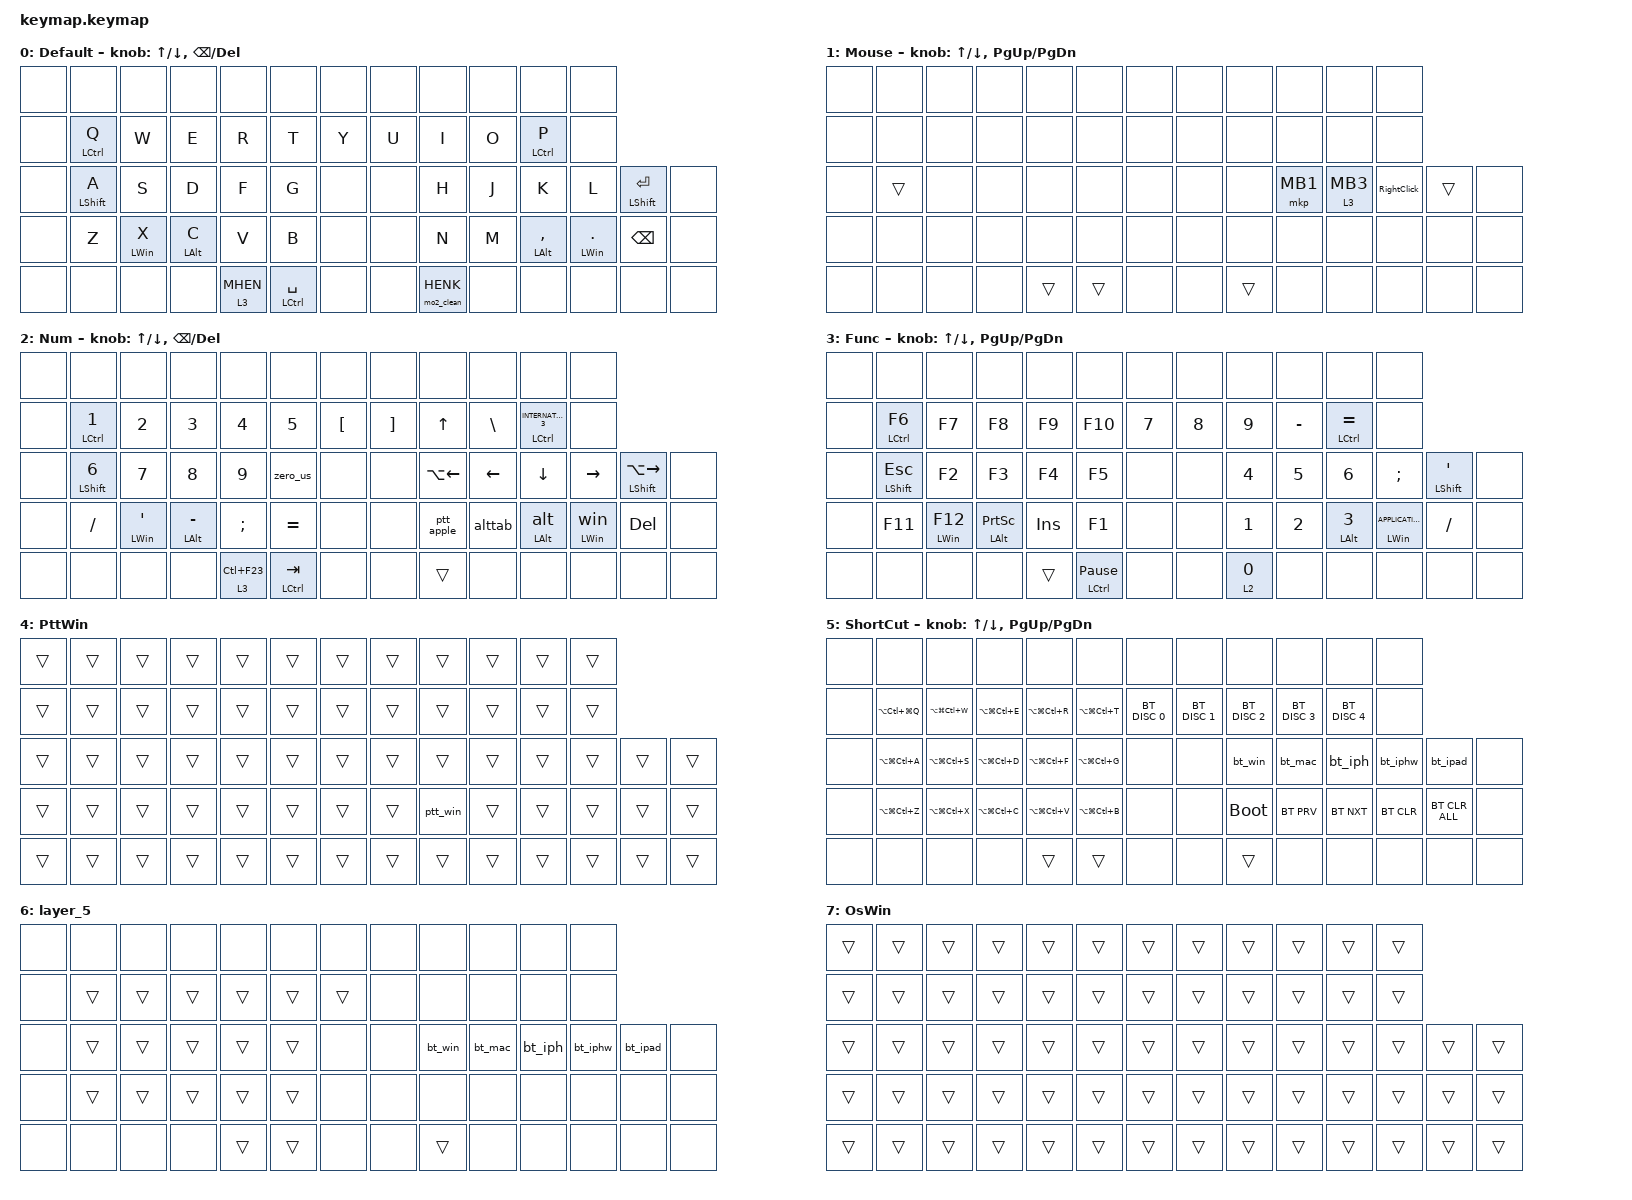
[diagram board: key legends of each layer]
#include <behaviors.dtsi>
#include <dt-bindings/zmk/bt.h>
#include <dt-bindings/zmk/keys.h>
#include <dt-bindings/zmk/pointing.h>

// torabo_tsuki_lp master(66キー/Lレイアウト)の物理マトリクスに、4x5keys2のキーマップを移植したもの。
// 4x5keys2で実キーが存在した位置だけ機能を割り当て、その他はmaster上に存在しても&noneにしている。
// 4x5keys2位置 -> master位置の対応:
//   row0 (Q-P):        0-9   -> 13,14,15,16,17,18,19,20,21,22
//   row1 (A-L,+1):      10-19 -> 25,26,27,28,29,32,33,34,35,36
//   row2 (Z-.,+1):      20-29 -> 39,40,41,42,43,46,47,48,49,50
//   row3 (V,B,Nの下):   33,34,35 -> 56,57,60
// master物理レイアウト(size_l)は 5行 x 12/14列 = 66キー。詳細はtorabo_tsuki_lp.dtsiのsize_l_transform参照。

&mkp_input_listener { input-processors = <&zip_temp_layer 1 100000>; };

&zip_temp_layer {
    excluded-positions = <
        33 // J:Lbutton
        34 // K:Mbutton - Scroll Layer
        35 // L:Rbutton
        36 // Enter-shift
        25 // A-Shift
        57 // Space-Lctrl
    >;

    require-prior-idle-ms = <200>;
};

&pointing_listener {
    input-processors = <
        &zip_xy_transform (INPUT_TRANSFORM_X_INVERT |INPUT_TRANSFORM_Y_INVERT)
        &zip_temp_layer 1 100000
    >;

    scroller {
        layers = <3>;
        input-processors = <
            &zip_xy_transform (INPUT_TRANSFORM_X_INVERT)
            &zip_xy_to_scroll_mapper
            &zip_scroll_snap // 斜めのスクロールを縦横軸にスナップさせる
            // &scroll_inertia // 慣性スクロール(iOS風の減速スクロール) - 無効化中
            &zip_scroll_scaler 1 8 //スクロール速度を1/8にする。n/mにする場合は[n m]と書く。
        >;
    };
};

&zip_scroll_snap {
    x-threshold = <5 8>;
    y-threshold = <8 5>;
    xy-threshold = <5 8>;
};

// mtの初期値はhold-preferred(他のキーを押した瞬間にholdが確定する)で、
// Spaceの直後に文字を打つと意図せずCtrl等が発火しやすいので、hmと同じtap-preferredに統一する

&mt {
    flavor = "tap-preferred";
    quick-tap-ms = <200>;
};

/ {
    combos {
        compatible = "zmk,combos";

        pgup {
            bindings = <&kp PG_UP>;
            key-positions = <20 39 60>;
        };

        pgdn {
            bindings = <&kp PAGE_DOWN>;
            key-positions = <39 60 34>;
        };

        home {
            bindings = <&kp HOME>;
            key-positions = <39 60 33>;
        };

        end {
            bindings = <&kp END>;
            key-positions = <39 60 35>;
        };
    };

    keymap {
        compatible = "zmk,keymap";

        Default {
            bindings = <
  &none  &none  &none  &none  &none  &none  &none  &none  &none  &none  &none  &none
  &none  &hm LCTRL Q  &kp W  &kp E  &kp R  &kp T  &kp Y  &kp U  &kp I  &kp O  &hm LCTRL P  &none
  &none  &mt_exit_AML_on_tap LSHIFT A  &kp S  &kp D  &kp F  &kp G  &none  &none  &kp H  &kp J  &kp K  &kp L  &mt_exit_AML_on_tap LEFT_SHIFT ENTER  &none
  &none  &kp Z  &hm LWIN X  &hm LALT C  &kp V  &kp B  &none  &none  &kp N  &kp M  &hm LEFT_ALT COMMA  &hm LWIN DOT  &kp BACKSPACE  &none
  &none  &none  &none  &none  &moMHEN 3 0  &mt LCTRL SPACE  &none  &none  &moHENK 0 0  &none  &none  &none  &none  &none
            >;

            sensor-bindings = <
            &inc_dec_kp UP DOWN
            &inc_dec_kp BSPC DEL
            >;
        };

        Mouse {
            bindings = <
  &none  &none  &none  &none  &none  &none  &none  &none  &none  &none  &none  &none
  &none  &none  &none  &none  &none  &none  &none  &none  &none  &none  &none  &none
  &none  &trans  &none  &none  &none  &none  &none  &none  &none  &mkp MB1  &lm 3 MB3  &RightClick  &trans  &none
  &none  &none  &none  &none  &none  &none  &none  &none  &none  &none  &none  &none  &none  &none
  &none  &none  &none  &none  &trans  &trans  &none  &none  &trans  &none  &none  &none  &none  &none
            >;

            sensor-bindings = <
            &inc_dec_kp UP DOWN
            &inc_dec_kp PG_UP PG_DN
            >;
        };

        Num {
            bindings = <
  &none  &none  &none  &none  &none  &none  &none  &none  &none  &none  &none  &none
  &none  &hm LCTRL NUMBER_1  &kp N2  &kp N3  &kp N4  &kp N5  &kp LEFT_BRACKET  &kp RIGHT_BRACKET  &kp UP  &kp BACKSLASH  &hm LCTRL INTERNATIONAL_3  &none
  &none  &hm LSHIFT NUMBER_6  &kp N7  &kp N8  &kp N9  &zero_us  &none  &none  &kp LA(LEFT)  &kp LEFT  &kp DOWN  &kp RIGHT  &hm LEFT_SHIFT LA(RIGHT)  &none
  &none  &kp SLASH  &hm LEFT_WIN SINGLE_QUOTE  &hm LEFT_ALT MINUS  &kp SEMI  &kp EQUAL  &none  &none  &ptt_apple  &alttab  &Malt LEFT_ALT 0  &Mwin LWIN 0  &kp DELETE  &none
  &none  &none  &none  &none  &lt 3 LC(F23)  &mt LCTRL TAB  &none  &none  &trans  &none  &none  &none  &none  &none
            >;

            sensor-bindings = <
            &inc_dec_kp UP DOWN
            &inc_dec_kp BSPC DEL
            >;
        };

        Func {
            bindings = <
  &none  &none  &none  &none  &none  &none  &none  &none  &none  &none  &none  &none
  &none  &hm LCTRL F6  &kp F7  &kp F8  &kp F9  &kp F10  &kp N7  &kp N8  &kp N9  &kp MINUS  &hm LCTRL EQUAL  &none
  &none  &hm LSHIFT ESCAPE  &kp F2  &kp F3  &kp F4  &kp F5  &none  &none  &kp N4  &kp N5  &kp N6  &kp SEMI  &hm LSHIFT SINGLE_QUOTE  &none
  &none  &kp F11  &mt LWIN F12  &mt LALT PRINTSCREEN  &kp INS  &kp F1  &none  &none  &kp N1  &kp N2  &hm LALT NUMBER_3  &hm LWIN K_APPLICATION  &kp FSLH  &none
  &none  &none  &none  &none  &trans  &hm LCTRL PAUSE_BREAK  &none  &none  &lt 2 N0  &none  &none  &none  &none  &none
            >;

            sensor-bindings = <
            &inc_dec_kp UP DOWN
            &inc_dec_kp PG_UP PG_DN
            >;
        };

        // Windowsモード時にNumレイヤーのPTTキー(index 46)だけを&ptt_winへ差し替える専用レイヤー。
        // ShortCutより前(低いindex)に置くこと。後ろに置くとNum+Funcの&bootloader(ShortCutのindex 46)が
        // このレイヤーに勝たれてしまい、キーマップからブートローダに入れなくなる
        PttWin {
            display-name = "PttWin";
            bindings = <
  &trans  &trans  &trans  &trans  &trans  &trans  &trans  &trans  &trans  &trans  &trans  &trans
  &trans  &trans  &trans  &trans  &trans  &trans  &trans  &trans  &trans  &trans  &trans  &trans
  &trans  &trans  &trans  &trans  &trans  &trans  &trans  &trans  &trans  &trans  &trans  &trans  &trans  &trans
  &trans  &trans  &trans  &trans  &trans  &trans  &trans  &trans  &ptt_win  &trans  &trans  &trans  &trans  &trans
  &trans  &trans  &trans  &trans  &trans  &trans  &trans  &trans  &trans  &trans  &trans  &trans  &trans  &trans
            >;
        };

        ShortCut {
            bindings = <
  &none  &none  &none  &none  &none  &none  &none  &none  &none  &none  &none  &none
  &none  &kp LA(LC(LG(Q)))  &kp LA(LG(LC(W)))  &kp LA(LG(LC(E)))  &kp LA(LG(LC(R)))  &kp LA(LG(LC(T)))  &bt BT_DISC 0  &bt BT_DISC 1  &bt BT_DISC 2  &bt BT_DISC 3  &bt BT_DISC 4  &none
  &none  &kp LA(LG(LC(A)))  &kp LA(LG(LC(S)))  &kp LA(LG(LC(D)))  &kp LA(LG(LC(F)))  &kp LA(LG(LC(G)))  &none  &none  &bt_win  &bt_mac  &bt_iph  &bt_iphw  &bt_ipad  &none
  &none  &kp LA(LG(LC(Z)))  &kp LA(LG(LC(X)))  &kp LA(LG(LC(C)))  &kp LA(LG(LC(V)))  &kp LA(LG(LC(B)))  &none  &none  &bootloader  &bt BT_PRV  &bt BT_NXT  &bt BT_CLR  &bt BT_CLR_ALL  &none
  &none  &none  &none  &none  &trans  &trans  &none  &none  &trans  &none  &none  &none  &none  &none
            >;

            sensor-bindings = <
            &inc_dec_kp UP DOWN
            &inc_dec_kp PG_UP PG_DN
            >;
        };

        layer_5 {
            bindings = <
  &none  &none  &none  &none  &none  &none  &none  &none  &none  &none  &none  &none
  &none  &trans  &trans  &trans  &trans  &trans  &trans  &none  &none  &none  &none  &none
  &none  &trans  &trans  &trans  &trans  &trans  &none  &none  &bt_win  &bt_mac  &bt_iph  &bt_iphw  &bt_ipad  &none
  &none  &trans  &trans  &trans  &trans  &trans  &none  &none  &none  &none  &none  &none  &none  &none
  &none  &none  &none  &none  &trans  &trans  &none  &none  &trans  &none  &none  &none  &none  &none
            >;
        };

        // OSモード(Windowsかどうか)を保持するだけのフラグ専用レイヤー。BTプロファイル選択マクロがon/offする。
        // 全66エントリが&transなのでキー解決には一切影響しない
        OsWin {
            display-name = "OsWin";
            bindings = <
  &trans  &trans  &trans  &trans  &trans  &trans  &trans  &trans  &trans  &trans  &trans  &trans
  &trans  &trans  &trans  &trans  &trans  &trans  &trans  &trans  &trans  &trans  &trans  &trans
  &trans  &trans  &trans  &trans  &trans  &trans  &trans  &trans  &trans  &trans  &trans  &trans  &trans  &trans
  &trans  &trans  &trans  &trans  &trans  &trans  &trans  &trans  &trans  &trans  &trans  &trans  &trans  &trans
  &trans  &trans  &trans  &trans  &trans  &trans  &trans  &trans  &trans  &trans  &trans  &trans  &trans  &trans
            >;
        };
    };

    conditional_layers {
        compatible = "zmk,conditional-layers";

        FunctionWin {
            if-layers = <2 3>;
            then-layer = <5>; // PttWinの挿入でShortCutが4->5にずれた
        };

        PttWinCond {
            if-layers = <2 7>; // Num + OsWin
            then-layer = <4>;  // PttWin
        };
    };

    macros {
        kp_exitAML: kp_exit_AML {
            compatible = "zmk,behavior-macro-one-param";
            wait-ms = <0>;
            tap-ms = <0>;
            #binding-cells = <1>;
            // &toはデフォルト以外の全レイヤーを無効化するため、OsWinフラグまで巻き添えで落ちる。
            // ここの目的はオートマウスレイヤー(layer 1)から抜けることなので&tog_off 1にする
            bindings = <&macro_param_1to1 &kp MACRO_PLACEHOLDER &tog_off 1>;
            label = "KP_exit_AML";
        };

        mo2_clean: a_hold_mo1_cleanup {
            compatible = "zmk,behavior-macro";
            #binding-cells = <0>;
            bindings =
                <&macro_press>,
                <&mo 2>,
                <&macro_pause_for_release>,
                <&macro_release>,
                <&mo 2>, // 押しっぱなしだった&mo 2を明示的に離す(元は&to 0が唯一の解除経路だった)
                <&kp LWIN &kp LALT>,
                <&macro_tap>,
                <&tog_off 1>, // 元は&to 0。OsWinフラグを落とさないためlayer 1だけを無効化する
                <&tog_off 2>, // 保険。&mo 2のreleaseが効かなくてもNumが残らないようにする
                <&macro_press>;

            label = "A_HOLD_MO1_CLEANUP";
        };

        alttab: b_to2_alt_tab {
            compatible = "zmk,behavior-macro";
            #binding-cells = <0>;
            bindings =
                <&macro_release>,
                <&kp LWIN>,
                <&macro_press>,
                <&kp LALT>,
                <&macro_tap>,
                <&kp TAB>;

            label = "B_TO2_ALT_TAB";
        };

        win: c_alt_plessed {
            compatible = "zmk,behavior-macro";
            #binding-cells = <0>;
            bindings = <&macro_release>, <&kp LALT>, <&macro_press>, <&kp LWIN>;

            label = "C_ALT_PLESSED";
        };

        alt: alt {
            compatible = "zmk,behavior-macro";
            #binding-cells = <0>;
            bindings = <&macro_release>, <&kp LWIN>, <&macro_press>, <&kp LALT>;

            label = "ALT";
        };

        mo2_clean_m: mo2_clean_m {
            compatible = "zmk,behavior-macro";
            #binding-cells = <0>;
            bindings =
                <&macro_press>,
                <&mo 2>,
                <&macro_pause_for_release>,
                <&macro_release>,
                <&mo 2>, // 押しっぱなしだった&mo 2を明示的に離す(元は&to 0が唯一の解除経路だった)
                <&kp LWIN &kp LALT>,
                <&macro_tap>,
                <&tog_off 1>, // 元は&to 0。OsWinフラグを落とさないためlayer 1だけを無効化する
                <&tog_off 2>, // 保険。&mo 2のreleaseが効かなくてもNumが残らないようにする
                <&macro_press>;

            label = "MO2_CLEAN_M";
        };

        // Screens（VNC）越しでは iPadOS が LANG1/LANG2 を横取りするため Mac まで降りてこない。
        // そこで F17（英数）/ F18（かな）も併せて送り、Mac 側の Hammerspoon が JIS のキーコード
        // （102 = kVK_JIS_Eisu / 104 = kVK_JIS_Kana）に戻す。直結時は英数/かなが二重に発火するが
        // 冪等なので無害。Windows（AHK）側と Karabiner 側は F17/F18 を使っていない（2026-08-24 確認）。
        // → 外部脳 4_notes/Screens越しのtorabo-tsuki操作.md
        HENK: HENK {
            compatible = "zmk,behavior-macro";
            #binding-cells = <0>;
            bindings = <&kp LANGUAGE_1 &kp INTERNATIONAL_4 &kp F18>;
            label = "HENK";
        };

        MHEN: MHEN {
            compatible = "zmk,behavior-macro";
            #binding-cells = <0>;
            bindings = <&kp LANGUAGE_2 &kp INT_MUHENKAN &kp F17>;
            label = "MHEN";
        };

        // PTT(押している間だけ音声入力)。&macro_pause_for_releaseより前が押下時、後が離し時に走る。
        // マクロの既定モードはtapなので<&kp LCTRL &kp LCTRL>はControlを2回叩く(Appleの音声入力ショートカット)
        ptt_apple: ptt_apple {
            compatible = "zmk,behavior-macro";
            #binding-cells = <0>;
            // 40msでは macOS が「Control 2回」と認識しなかった（2026-08-12 実機。
            // OS 側は Control 2回に設定済みであることを defaults で確認済み）。
            // 80msだと外したときにもう一往復になるので、まず余裕のある100msへ振る
            wait-ms = <100>;
            tap-ms = <100>;
            bindings =
                <&kp LCTRL &kp LCTRL>,
                <&macro_pause_for_release>,
                <&kp LCTRL &kp LCTRL>;

            label = "PTT_APPLE";
        };

        // Windowsの音声入力はWin+Hのトグル
        ptt_win: ptt_win {
            compatible = "zmk,behavior-macro";
            #binding-cells = <0>;
            wait-ms = <40>;
            tap-ms = <40>;
            bindings =
                <&kp LG(H)>,
                <&macro_pause_for_release>,
                <&kp LG(H)>;

            label = "PTT_WIN";
        };

        // BTプロファイル選択と同時にOSモード(layer 7 = OsWin)を切り替える。
        //
        // 2026-08-25: モニタ切替(DDC)も同じキーに統合した。F13 は「今使っている機械から
        // 相手へ画面を渡す」キーで、受け手は Mac / VAIO の両方に置いてある:
        //   Mac  = ~/.hammerspoon/init.lua の F13 → mac/switch.sh to-vaio
        //   VAIO = win/switch.ahk の F13 → SwitchToMac()
        // どちらも「相手へ渡す」なので、同じ F13 で向きが自動的に決まる。
        //
        // ⚠️ F13 は必ず &bt BT_SEL より前に送る。後にすると切替先の機械に届いてしまう。
        // ⚠️ wait-ms は BLE で F13 が届き切るまでの余裕。200 は暫定値で未実測。
        //    渡した先で画面が動かないなら、まずここを増やす。
        // ⚠️ 「今いる側」のキーを押すと画面だけ相手に飛ぶ(例: Mac にいるのに bt_mac)。
        //    復帰は「相手のキー → 相手側で自分のキー」の2手。
        // ⚠️ VAIO 側は switch.ahk が起動していないと F13 は無視される(害はない)。
        // → 外部脳 3_projects/monitor-switch/0_README.md
        bt_win: bt_win {
            compatible = "zmk,behavior-macro";
            #binding-cells = <0>;
            wait-ms = <200>;
            bindings = <&kp F13>, <&bt BT_SEL 0>, <&tog_on 7>;
            label = "BT_WIN";
        };

        bt_mac: bt_mac {
            compatible = "zmk,behavior-macro";
            #binding-cells = <0>;
            wait-ms = <200>;
            bindings = <&kp F13>, <&bt BT_SEL 1>, <&tog_off 7>;
            label = "BT_MAC";
        };

        bt_iph: bt_iph {
            compatible = "zmk,behavior-macro";
            #binding-cells = <0>;
            bindings = <&bt BT_SEL 2>, <&tog_off 7>;
            label = "BT_IPH";
        };

        bt_iphw: bt_iphw {
            compatible = "zmk,behavior-macro";
            #binding-cells = <0>;
            bindings = <&bt BT_SEL 3>, <&tog_off 7>;
            label = "BT_IPHW";
        };

        bt_ipad: bt_ipad {
            compatible = "zmk,behavior-macro";
            #binding-cells = <0>;
            bindings = <&bt BT_SEL 4>, <&tog_off 7>;
            label = "BT_IPAD";
        };
    };

    behaviors {
        lm: lt_with_mouse {
            compatible = "zmk,behavior-hold-tap";
            label = "LAYER_TAP_MOUSE";
            bindings = <&mo>, <&MiddleClick>;

            #binding-cells = <2>;
            tapping-term-ms = <200>;
        };

        tog_off: toggle_layer_off_only {
            compatible = "zmk,behavior-toggle-layer";
            #binding-cells = <1>;
            display-name = "Toggle Layer Off";
            toggle-mode = "off";
        };

        tog_on: toggle_layer_on_only {
            compatible = "zmk,behavior-toggle-layer";
            #binding-cells = <1>;
            display-name = "Toggle Layer On";
            toggle-mode = "on";
        };

        // 素で0、Shift併用で_(JISのアンダースコア)。mods指定のShiftは既定で出力から取り除かれるため、
        // morph側はLS()で明示的にShiftを載せ直している
        zero_us: zero_underscore {
            compatible = "zmk,behavior-mod-morph";
            label = "ZERO_UNDERSCORE";
            bindings = <&kp N0>, <&kp LS(INT1)>;

            #binding-cells = <0>;
            mods = <(MOD_LSFT|MOD_RSFT)>;
        };

        mt_exit_AML_on_tap: mt_exit_AML_on_tap {
            compatible = "zmk,behavior-hold-tap";
            label = "MT_exit_AML_ON_TAP";
            bindings = <&kp>, <&kp_exitAML>;

            #binding-cells = <2>;
            tapping-term-ms = <200>;
            flavor = "tap-preferred";
            quick-tap-ms = <200>;
            require-prior-idle-ms = <50>;
        };

        lt_clean: lt_clean {
            compatible = "zmk,behavior-hold-tap";
            label = "LT_CLEAN";
            bindings = <&mo2_clean>, <&kp>;

            #binding-cells = <2>;
            tapping-term-ms = <200>;
            flavor = "tap-preferred";
        };

        RightClick: RightClick {
            compatible = "zmk,behavior-mod-morph";
            label = "RIGHTCLICK";
            bindings = <&mkp MB2>, <&none>;

            #binding-cells = <0>;
            mods = <(MOD_LCTL|MOD_LSFT)>;
            keep-mods = <(MOD_LCTL|MOD_LSFT)>;
        };

        MiddleClick: MiddleClick {
            compatible = "zmk,behavior-mod-morph";
            label = "MIDDLECLICK";
            bindings = <&mkp MB3>, <&kp K>;

            #binding-cells = <0>;
            mods = <(MOD_LSFT|MOD_LCTL)>;
            keep-mods = <(MOD_LCTL|MOD_LSFT)>;
        };

        hm: homerow_mod {
            compatible = "zmk,behavior-hold-tap";
            label = "HM";
            bindings = <&kp>, <&kp>;

            #binding-cells = <2>;
            tapping-term-ms = <280>; // Ctrl+Cのようにmodと組み合わせて使う時、素早く離さないとC自身のhold(LALT)が確定してしまうため余裕を持たせる
            quick-tap-ms = <200>;
            flavor = "tap-preferred";
            require-prior-idle-ms = <100>;
            retro-tap;
        };

        Mwin: Mwin {
            compatible = "zmk,behavior-hold-tap";
            label = "MWIN";
            bindings = <&kp>, <&win>;

            #binding-cells = <2>;
            tapping-term-ms = <200>;
        };

        Malt: Malt {
            compatible = "zmk,behavior-hold-tap";
            label = "MALT";
            bindings = <&kp>, <&alt>;

            #binding-cells = <2>;
            tapping-term-ms = <200>;
        };

        moMHEN: moMHEN {
            compatible = "zmk,behavior-hold-tap";
            label = "MOMHEN";
            #binding-cells = <2>;
            bindings = <&mo>, <&MHEN>;

            tapping-term-ms = <200>;
        };

        moHENK: moHENK {
            compatible = "zmk,behavior-hold-tap";
            label = "MOHENK";
            bindings = <&mo2_clean>, <&HENK>;

            #binding-cells = <2>;
            tapping-term-ms = <200>;
            flavor = "tap-preferred";
        };
    };
};
